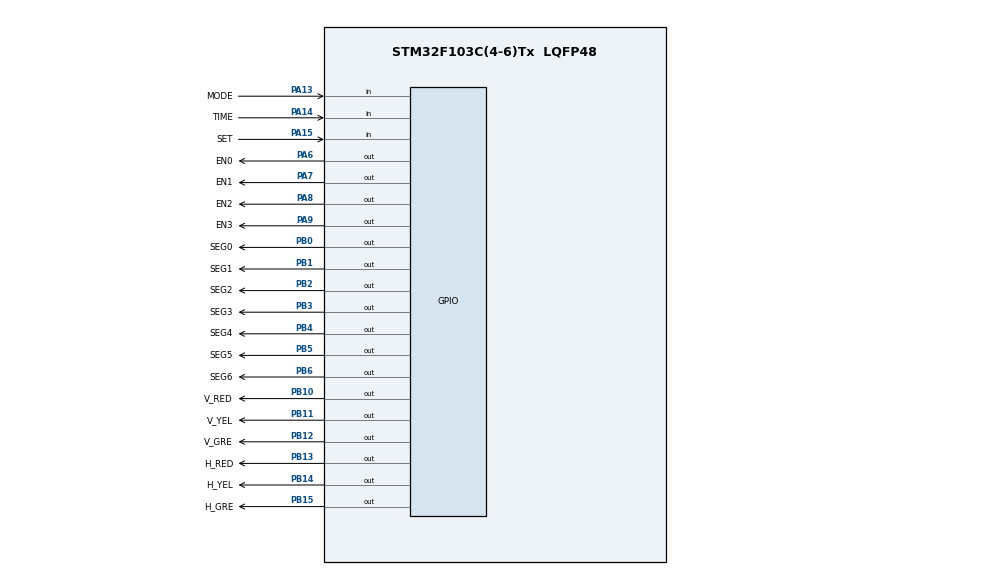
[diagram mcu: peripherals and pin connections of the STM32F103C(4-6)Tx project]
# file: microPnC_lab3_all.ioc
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Mcu.Family=STM32F1
Mcu.Name=STM32F103C(4-6)Tx
Mcu.Package=LQFP48
NVIC.PriorityGroup=NVIC_PRIORITYGROUP_4
NVIC.TIM2_IRQn=true\:0\:0\:false\:false\:true\:true\:true\:true
PA13.GPIO_Label=MODE
PA13.GPIO_PuPd=GPIO_PULLUP
PA13.Signal=GPIO_Input
PA14.GPIO_Label=TIME
PA14.GPIO_PuPd=GPIO_PULLUP
PA14.Signal=GPIO_Input
PA15.GPIO_Label=SET
PA15.GPIO_PuPd=GPIO_PULLUP
PA15.Signal=GPIO_Input
PA6.GPIO_Label=EN0
PA6.Signal=GPIO_Output
PA7.GPIO_Label=EN1
PA7.Signal=GPIO_Output
PA8.GPIO_Label=EN2
PA8.Signal=GPIO_Output
PA9.GPIO_Label=EN3
PA9.Signal=GPIO_Output
PB0.GPIO_Label=SEG0
PB0.Signal=GPIO_Output
PB1.GPIO_Label=SEG1
PB1.Signal=GPIO_Output
PB10.GPIO_Label=V_RED
PB10.Signal=GPIO_Output
PB11.GPIO_Label=V_YEL
PB11.Signal=GPIO_Output
PB12.GPIO_Label=V_GRE
PB12.Signal=GPIO_Output
PB13.GPIO_Label=H_RED
PB13.Signal=GPIO_Output
PB14.GPIO_Label=H_YEL
PB14.Signal=GPIO_Output
PB15.GPIO_Label=H_GRE
PB15.Signal=GPIO_Output
PB2.GPIO_Label=SEG2
PB2.Signal=GPIO_Output
PB3.GPIO_Label=SEG3
PB3.Signal=GPIO_Output
PB4.GPIO_Label=SEG4
PB4.Signal=GPIO_Output
PB5.GPIO_Label=SEG5
PB5.Signal=GPIO_Output
PB6.GPIO_Label=SEG6
PB6.Signal=GPIO_Output
ProjectManager.HeapSize=0x200
ProjectManager.StackSize=0x400
ProjectManager.TargetToolchain=STM32CubeIDE
RCC.APB1Freq_Value=8000000
RCC.APB2Freq_Value=8000000
TIM2.Period=9
TIM2.Prescaler=39999
VP_TIM2_VS_ClockSourceINT.Mode=Internal
board=custom

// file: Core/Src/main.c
/* USER CODE BEGIN Header */
/**
  ******************************************************************************
  * @file           : main.c
  * @brief          : Main program body
  ******************************************************************************
  * @attention
  *
  * Copyright (c) 2022 STMicroelectronics.
  * All rights reserved.
  *
  * This software is licensed under terms that can be found in the LICENSE file
  * in the root directory of this software component.
  * If no LICENSE file comes with this software, it is provided AS-IS.
  *
  ******************************************************************************
  */
/* USER CODE END Header */
#include "main.h"
#include "tim.h"
#include "gpio.h"

/* USER CODE BEGIN Includes */
#include "stim_manip.h"
#include "component.h"
#include "traffic_manip.h"
#include "7seg_manip.h"
#include "button_manip.h"
#include "mode.h"
/* USER CODE END Includes */

void SystemClock_Config(void);
/* USER CODE BEGIN PFP */
void Display_7SEG(void);
/* USER CODE END PFP */

int main(void)
{

  /* MCU Configuration--------------------------------------------------------*/

  /* Reset of all peripherals, Initializes the Flash interface and the Systick. */
  HAL_Init();

  /* Configure the system clock */
  SystemClock_Config();

  /* Initialize all configured peripherals */
  MX_GPIO_Init();
  MX_TIM2_Init();
  /* USER CODE BEGIN 2 */
  HAL_TIM_Base_Start_IT(&htim2);

  Software_Timer_Init();
  Intersection_Init();
  Intersection_7SEG_Init();
  Traffic_Button_Init();

  /* USER CODE END 2 */

  /* Infinite loop */
  /* USER CODE BEGIN WHILE */
  while (1)
  {
//	  Intersection_Normal_Mode();
	  Mode_Processing();
	  Display_7SEG();
    /* USER CODE END WHILE */

  }
}

void SystemClock_Config(void)
{
  RCC_OscInitTypeDef RCC_OscInitStruct = {0};
  RCC_ClkInitTypeDef RCC_ClkInitStruct = {0};

  /** Initializes the RCC Oscillators according to the specified parameters
  * in the RCC_OscInitTypeDef structure.
  */
  RCC_OscInitStruct.OscillatorType = RCC_OSCILLATORTYPE_HSI;
  RCC_OscInitStruct.HSIState = RCC_HSI_ON;
  RCC_OscInitStruct.HSICalibrationValue = RCC_HSICALIBRATION_DEFAULT;
  RCC_OscInitStruct.PLL.PLLState = RCC_PLL_NONE;
  if (HAL_RCC_OscConfig(&RCC_OscInitStruct) != HAL_OK)
  {
    Error_Handler();
  }

  /** Initializes the CPU, AHB and APB buses clocks
  */
  RCC_ClkInitStruct.ClockType = RCC_CLOCKTYPE_HCLK|RCC_CLOCKTYPE_SYSCLK
                              |RCC_CLOCKTYPE_PCLK1|RCC_CLOCKTYPE_PCLK2;
  RCC_ClkInitStruct.SYSCLKSource = RCC_SYSCLKSOURCE_HSI;
  RCC_ClkInitStruct.AHBCLKDivider = RCC_SYSCLK_DIV1;
  RCC_ClkInitStruct.APB1CLKDivider = RCC_HCLK_DIV1;
  RCC_ClkInitStruct.APB2CLKDivider = RCC_HCLK_DIV1;

  if (HAL_RCC_ClockConfig(&RCC_ClkInitStruct, FLASH_LATENCY_0) != HAL_OK)
  {
    Error_Handler();
  }
}

/* USER CODE BEGIN 4 */
void Display_7SEG(void){
	if (stim3->flag == 1){
		 stim3->Set_Default(stim3);
		 Intersection_7SEG_Display();
	}
}

void HAL_TIM_PeriodElapsedCallback(TIM_HandleTypeDef *htim){
	if (htim->Instance == TIM2){
		hTrafficLight->stim->Timer_Run(hTrafficLight->stim);
		vTrafficLight->stim->Timer_Run(vTrafficLight->stim);
		Button_Scan();
		Software_Timer_Run();
	}
}
/* USER CODE END 4 */

void Error_Handler(void)
{
  __disable_irq();
  while (1)
  {
  }
}
